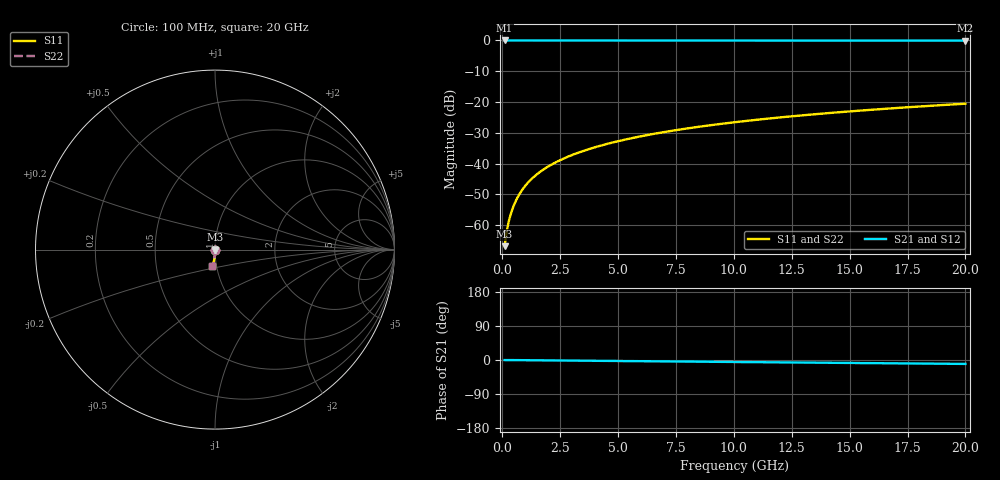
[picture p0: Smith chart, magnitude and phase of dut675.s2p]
! Touchstone file exported from HFSS 2026.1.0
!  File:  C:/ffzhzh/LocalFiles/Ansys_Project_Files/temp_train_TSV_675_1783027271_4048.aedt
!  Generated:  05:22:50 AM Jul  3, 2026
!  Design:  TSV
!  Project:  temp_train_TSV_675_1783027271_4048
! Variables:
!  h_bsmrdl = 2um
!  h_ox = 20um
!  h_rdl = 5um
!  h_sub = 97.21um
!  h_tmrdl = 5um
!  h_tsv = 97.21um
!  h_via = 3um
!  l_bsmrdl = 300um
!  l_sub = 415.94um
!  l_tmrdl = 200um
!  m_sub = 200um
!  pitch = 20.65um
!  r_tsv = 7.97um
!  s_tmrdl = 10um
!  w_bsmrdl = 18um
!  w_sub = 500um
!  w_tmrdl = 12um
!  x_tsv_center1 = 206um
!  x_tsv_center2 = 524um
!  x_tsv_center3 = 736um
!  x_tsv_center4 = 1054um
!  x_tsv_center5 = 1266um
!  x_tsv_center6 = 1584um
# GHz S MA R 50.000000
! Terminal data exported
! Port[1] = TSV1_1_T1
! Port[2] = TSV1_1_T2
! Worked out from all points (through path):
!   200 points, 100 MHz to 20 GHz, reference 50 ohm
!   highest |S21| = 0.00 dB at 100 MHz (marker M1); lowest = -0.1 dB at 20 GHz (marker M2)
!   group delay of S21, straight-line fit = 1.43 ps
!   lowest |S11| = -66.8 dB at 100 MHz (marker M3), VSWR 1.00, Z = 50 - j0.0389 ohm
!   |S11| at or under -10 dB: start of sweep to end of sweep
!   |S22| runs from -66.8 to -20.5 dB; largest |S21 - S12| = 4.5e-15
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0.1  0.0004551 -58.8  0.9998 -0.1  0.9998 -0.1  0.0004551 -58.8
! Gamma 0 0 0 0
! Port Impedance 50 0 50 0
0.2  0.0008301 -71.5  0.9997 -0.1  0.9997 -0.1  0.0008301 -71.5
0.3  0.001237 -75.8  0.9997 -0.2  0.9997 -0.2  0.001237 -75.8
0.4  0.001662 -78.0  0.9996 -0.2  0.9996 -0.2  0.001662 -78.0
0.5  0.002102 -79.3  0.9996 -0.3  0.9996 -0.3  0.002102 -79.3
0.7  0.003008 -81.2  0.9995 -0.4  0.9995 -0.4  0.003008 -81.2
0.8  0.003468 -81.9  0.9995 -0.4  0.9995 -0.4  0.003468 -81.9
1  0.004394 -83.1  0.9994 -0.5  0.9994 -0.5  0.004394 -83.1
1.2  0.005323 -84.0  0.9994 -0.6  0.9994 -0.6  0.005323 -84.0
1.4  0.006253 -84.8  0.9993 -0.7  0.9993 -0.7  0.006253 -84.8
1.7  0.007648 -85.7  0.9993 -0.9  0.9993 -0.9  0.007648 -85.7
2  0.009043 -86.4  0.9992 -1.1  0.9992 -1.1  0.009043 -86.4
2.7  0.0123 -87.5  0.9991 -1.4  0.9991 -1.4  0.0123 -87.5
3.5  0.01604 -88.4  0.9989 -1.8  0.9989 -1.8  0.01604 -88.4
4.2  0.01932 -89.1  0.9988 -2.2  0.9988 -2.2  0.01932 -89.1
5  0.02309 -89.8  0.9986 -2.6  0.9986 -2.6  0.02309 -89.8
6.8  0.0316 -91.1  0.9981 -3.6  0.9981 -3.6  0.0316 -91.1
8.3  0.03871 -92.1  0.9977 -4.3  0.9977 -4.3  0.03871 -92.1
10.1  0.04724 -93.2  0.9972 -5.3  0.9972 -5.3  0.04724 -93.2
13.4  0.06285 -95.2  0.9961 -7.0  0.9961 -7.0  0.06285 -95.2
16.7  0.0784 -97.1  0.9948 -8.7  0.9948 -8.7  0.0784 -97.1
20  0.09388 -98.9  0.9932 -10.3  0.9932 -10.3  0.09388 -98.9
